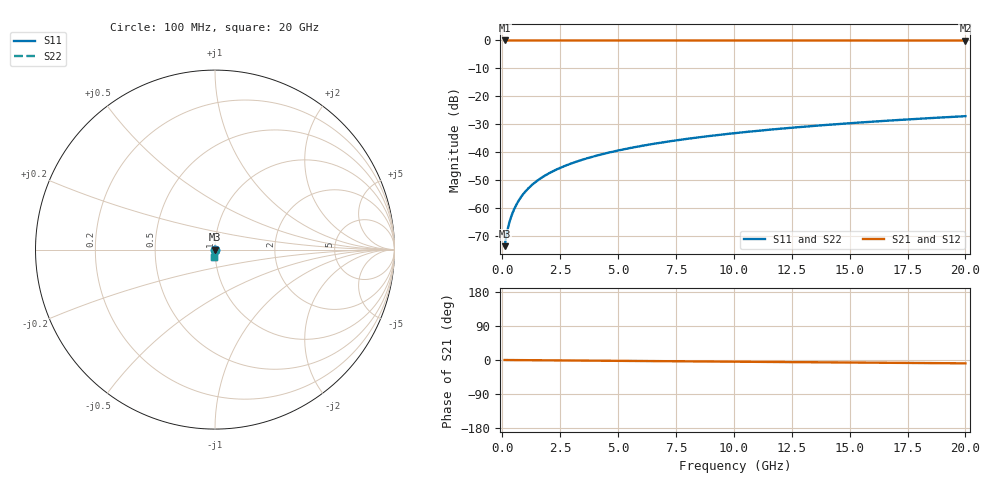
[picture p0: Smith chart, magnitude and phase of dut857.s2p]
! Touchstone file exported from HFSS 2026.1.0
!  File:  C:/ffzhzh/LocalFiles/Ansys_Project_Files/temp_train_TSV_857_1783185254_43440.aedt
!  Generated:  01:15:55 AM Jul  5, 2026
!  Design:  TSV
!  Project:  temp_train_TSV_857_1783185254_43440
! Variables:
!  h_bsmrdl = 2um
!  h_ox = 20um
!  h_rdl = 5um
!  h_sub = 89.48um
!  h_tmrdl = 5um
!  h_tsv = 89.48um
!  h_via = 3um
!  l_bsmrdl = 300um
!  l_sub = 422.52um
!  l_tmrdl = 200um
!  m_sub = 200um
!  pitch = 34.83um
!  r_tsv = 11.26um
!  s_tmrdl = 10um
!  w_bsmrdl = 18um
!  w_sub = 500um
!  w_tmrdl = 12um
!  x_tsv_center1 = 206um
!  x_tsv_center2 = 524um
!  x_tsv_center3 = 736um
!  x_tsv_center4 = 1054um
!  x_tsv_center5 = 1266um
!  x_tsv_center6 = 1584um
# GHz S MA R 50.000000
! Terminal data exported
! Port[1] = TSV1_1_T1
! Port[2] = TSV1_1_T2
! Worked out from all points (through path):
!   200 points, 100 MHz to 20 GHz, reference 50 ohm
!   highest |S21| = 0.00 dB at 100 MHz (marker M1); lowest = 0.0 dB at 20 GHz (marker M2)
!   group delay of S21, straight-line fit = 1.22 ps
!   lowest |S11| = -73.6 dB at 100 MHz (marker M3), VSWR 1.00, Z = 50 - j0.0169 ohm
!   |S11| at or under -10 dB: start of sweep to end of sweep
!   |S22| runs from -73.6 to -27.1 dB; largest |S21 - S12| = 2.1e-15
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0.1  0.0002093 -54.0  0.9999 -0.0  0.9999 -0.0  0.0002093 -54.0
! Gamma 0 0 0 0
! Port Impedance 50 0 50 0
0.2  0.0003699 -67.9  0.9999 -0.1  0.9999 -0.1  0.0003699 -67.9
0.3  0.0005481 -72.8  0.9998 -0.1  0.9998 -0.1  0.0005481 -72.8
0.4  0.0007374 -75.1  0.9998 -0.2  0.9998 -0.2  0.0007374 -75.1
0.5  0.0009354 -76.5  0.9998 -0.2  0.9998 -0.2  0.0009354 -76.5
0.7  0.001349 -78.5  0.9997 -0.3  0.9997 -0.3  0.001349 -78.5
0.8  0.001562 -79.2  0.9997 -0.4  0.9997 -0.4  0.001562 -79.2
1  0.001993 -80.5  0.9997 -0.5  0.9997 -0.5  0.001993 -80.5
1.2  0.002428 -81.6  0.9996 -0.5  0.9996 -0.5  0.002428 -81.6
1.4  0.002864 -82.5  0.9996 -0.6  0.9996 -0.6  0.002864 -82.5
1.7  0.003519 -83.6  0.9996 -0.8  0.9996 -0.8  0.003519 -83.6
2  0.004173 -84.5  0.9995 -0.9  0.9995 -0.9  0.004173 -84.5
2.7  0.0057 -85.9  0.9995 -1.2  0.9995 -1.2  0.0057 -85.9
3.5  0.007451 -87.0  0.9994 -1.6  0.9994 -1.6  0.007451 -87.0
4.2  0.00899 -87.7  0.9993 -1.9  0.9993 -1.9  0.00899 -87.7
5  0.01076 -88.4  0.9992 -2.2  0.9992 -2.2  0.01076 -88.4
6.8  0.01475 -89.8  0.9991 -3.0  0.9991 -3.0  0.01475 -89.8
8.3  0.0181 -90.7  0.9989 -3.7  0.9989 -3.7  0.0181 -90.7
10.1  0.02212 -91.8  0.9987 -4.5  0.9987 -4.5  0.02212 -91.8
13.4  0.0295 -93.7  0.9984 -5.9  0.9984 -5.9  0.0295 -93.7
16.7  0.03688 -95.3  0.998 -7.4  0.998 -7.4  0.03688 -95.3
20  0.04425 -97.0  0.9976 -8.8  0.9976 -8.8  0.04425 -97.0
